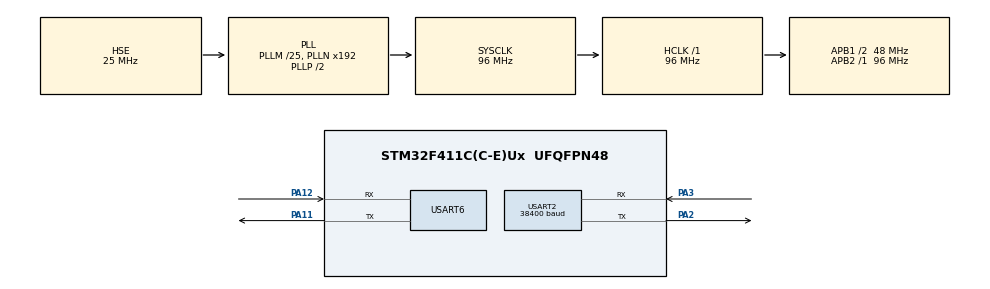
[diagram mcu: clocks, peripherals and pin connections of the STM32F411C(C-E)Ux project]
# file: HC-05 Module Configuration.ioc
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Mcu.Family=STM32F4
Mcu.Name=STM32F411C(C-E)Ux
Mcu.Package=UFQFPN48
NVIC.PriorityGroup=NVIC_PRIORITYGROUP_4
NVIC.USART2_IRQn=true\:0\:0\:false\:false\:true\:true\:true\:true
NVIC.USART6_IRQn=true\:0\:0\:false\:false\:true\:true\:true\:true
PA11.Mode=Asynchronous
PA11.Signal=USART6_TX
PA12.Mode=Asynchronous
PA12.Signal=USART6_RX
PA13.Mode=Trace_Asynchronous_SW
PA13.Signal=SYS_JTMS-SWDIO
PA14.Mode=Trace_Asynchronous_SW
PA14.Signal=SYS_JTCK-SWCLK
PA2.Mode=Asynchronous
PA2.Signal=USART2_TX
PA3.Mode=Asynchronous
PA3.Signal=USART2_RX
PA5.Signal=S_TIM2_CH1_ETR
PB3.Mode=Trace_Asynchronous_SW
PB3.Signal=SYS_JTDO-SWO
PH0\ -\ OSC_IN.Mode=HSE-External-Oscillator
PH0\ -\ OSC_IN.Signal=RCC_OSC_IN
PH1\ -\ OSC_OUT.Mode=HSE-External-Oscillator
PH1\ -\ OSC_OUT.Signal=RCC_OSC_OUT
ProjectManager.HeapSize=0x200
ProjectManager.StackSize=0x400
ProjectManager.TargetToolchain=STM32CubeIDE
RCC.48MHZClocksFreq_Value=48000000
RCC.AHBFreq_Value=96000000
RCC.APB1CLKDivider=RCC_HCLK_DIV2
RCC.APB1Freq_Value=48000000
RCC.APB1TimFreq_Value=96000000
RCC.APB2Freq_Value=96000000
RCC.APB2TimFreq_Value=96000000
RCC.CortexFreq_Value=96000000
RCC.HCLKFreq_Value=96000000
RCC.HSE_VALUE=25000000
RCC.HSI_VALUE=16000000
RCC.LSE_VALUE=32768
RCC.PLLM=25
RCC.PLLSourceVirtual=RCC_PLLSOURCE_HSE
RCC.SYSCLKFreq_VALUE=96000000
RCC.SYSCLKSource=RCC_SYSCLKSOURCE_PLLCLK
RCC.VCOOutputFreq_Value=192000000
SH.S_TIM2_CH1_ETR.0=TIM2_CH1
TIM2.Prescaler=95
USART2.BaudRate=38400
USART2.VirtualMode=VM_ASYNC
USART6.VirtualMode=VM_ASYNC
VP_TIM2_VS_ClockSourceINT.Mode=Internal
board=custom

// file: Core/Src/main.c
/* USER CODE BEGIN Header */
/**
  ******************************************************************************
  * @file           : main.c
  * @brief          : Main program body
  ******************************************************************************
  * @attention
  *
  * Copyright (c) 2025 STMicroelectronics.
  * All rights reserved.
  *
  * This software is licensed under terms that can be found in the LICENSE file
  * in the root directory of this software component.
  * If no LICENSE file comes with this software, it is provided AS-IS.
  *
  ******************************************************************************
  */
/* USER CODE END Header */
#include "main.h"

/* USER CODE BEGIN Includes */
#include <string.h>
/* USER CODE END Includes */

TIM_HandleTypeDef htim2;

UART_HandleTypeDef huart2;
UART_HandleTypeDef huart6;

/* USER CODE BEGIN PV */
#define BUFFER_SIZE 64
uint8_t rx_byte;
uint8_t rx_buffer[BUFFER_SIZE];
uint8_t buffer_index = 0;
volatile uint8_t command_ready = 0;

#define HC05_BUFFER_SIZE 128
volatile uint8_t hc05_rx_byte;
volatile uint8_t hc05_rx_buffer[HC05_BUFFER_SIZE];
volatile uint16_t hc05_rx_index = 0;
volatile uint8_t hc05_line_ready = 0;
volatile uint32_t hc05_last_rx_tick = 0;

/* USER CODE END PV */

void SystemClock_Config(void);
static void MX_GPIO_Init(void);
static void MX_USART2_UART_Init(void);
static void MX_TIM2_Init(void);
static void MX_USART6_UART_Init(void);

/* USER CODE BEGIN 0 */

//// Helper function to send AT command
//void sendATCommand(const char* cmd) {
//    HAL_UART_Transmit(&huart2, (uint8_t*)cmd, strlen(cmd), HAL_MAX_DELAY);
//    HAL_Delay(500);  // Small delay to give HC-05 time to process
//}
//
//void configure_HC05() {
//    // Optional: Reset to defaults
//    // sendATCommand("AT+ORGL\r\n");
//
//    sendATCommand("AT+NAME=MECHA15 ROBOT BT\r\n");
//    //sendATCommand("AT+PSWD=0614\r\n");
//    sendATCommand("AT+UART=115200,0,0\r\n");
//    sendATCommand("AT+RESET\r\n");
//}
/* USER CODE END 0 */

int main(void)
{

  /* MCU Configuration--------------------------------------------------------*/

  /* Reset of all peripherals, Initializes the Flash interface and the Systick. */
  HAL_Init();

  /* Configure the system clock */
  SystemClock_Config();

  /* Initialize all configured peripherals */
  MX_GPIO_Init();
  MX_USART2_UART_Init();
  MX_TIM2_Init();
  MX_USART6_UART_Init();
  /* USER CODE BEGIN 2 */
  HAL_UART_Receive_IT(&huart6, (uint8_t *)&rx_byte, 1);  // Trigger the first receive
  HAL_UART_Receive_IT(&huart2, (uint8_t*)&hc05_rx_byte, 1);
  HAL_UART_Transmit(&huart6, (uint8_t*)"\r\n> ", 4, HAL_MAX_DELAY);

  // To set up the HC-05 the way I had it for basic laptop connection, use the following commands:

  //  sendATCommand("AT+NAME=MECHA15 ROBOT BT\r\n"); // Module Name
  //  sendATCommand("AT+UART=115200,0,0\r\n"); // Set Data Mode Baud Rate
  //  sendATCommand("AT+RESET\r\n"); // Apply Changes

  /* USER CODE END 2 */

  /* Infinite loop */
  /* USER CODE BEGIN WHILE */
  while (1)
  {
      // Handle user command entry from PuTTY
	  if (command_ready)
	  {
	      command_ready = 0;

	      strcat((char*)rx_buffer, "\r\n");  // Append CRLF
	      HAL_UART_Transmit(&huart2, rx_buffer, strlen((char*)rx_buffer), HAL_MAX_DELAY);

	      // Reset user input buffer
	      memset(rx_buffer, 0, BUFFER_SIZE);
	      buffer_index = 0;
	  }

	  // Check if HC-05 has been idle long enough to assume response is complete
	  if (hc05_rx_index > 0 && (HAL_GetTick() - hc05_last_rx_tick > 150))
	  {
	      hc05_rx_buffer[hc05_rx_index] = '\0';
	      hc05_rx_index = 0;
	      hc05_line_ready = 1;
	  }

	  // If a complete HC-05 response is ready, print it to PuTTY
	  if (hc05_line_ready)
	  {
	      hc05_line_ready = 0;
	      HAL_UART_Transmit(&huart6, (uint8_t*)hc05_rx_buffer, strlen((char*)hc05_rx_buffer), HAL_MAX_DELAY);

	      const char prompt[] = "\r\n> ";
	      HAL_UART_Transmit(&huart6, (uint8_t*)prompt, strlen(prompt), HAL_MAX_DELAY);
	  }

    /* USER CODE END WHILE */

  }
}

void SystemClock_Config(void)
{
  RCC_OscInitTypeDef RCC_OscInitStruct = {0};
  RCC_ClkInitTypeDef RCC_ClkInitStruct = {0};

  /** Configure the main internal regulator output voltage
  */
  __HAL_RCC_PWR_CLK_ENABLE();
  __HAL_PWR_VOLTAGESCALING_CONFIG(PWR_REGULATOR_VOLTAGE_SCALE1);

  /** Initializes the RCC Oscillators according to the specified parameters
  * in the RCC_OscInitTypeDef structure.
  */
  RCC_OscInitStruct.OscillatorType = RCC_OSCILLATORTYPE_HSE;
  RCC_OscInitStruct.HSEState = RCC_HSE_ON;
  RCC_OscInitStruct.PLL.PLLState = RCC_PLL_ON;
  RCC_OscInitStruct.PLL.PLLSource = RCC_PLLSOURCE_HSE;
  RCC_OscInitStruct.PLL.PLLM = 25;
  RCC_OscInitStruct.PLL.PLLN = 192;
  RCC_OscInitStruct.PLL.PLLP = RCC_PLLP_DIV2;
  RCC_OscInitStruct.PLL.PLLQ = 4;
  if (HAL_RCC_OscConfig(&RCC_OscInitStruct) != HAL_OK)
  {
    Error_Handler();
  }

  /** Initializes the CPU, AHB and APB buses clocks
  */
  RCC_ClkInitStruct.ClockType = RCC_CLOCKTYPE_HCLK|RCC_CLOCKTYPE_SYSCLK
                              |RCC_CLOCKTYPE_PCLK1|RCC_CLOCKTYPE_PCLK2;
  RCC_ClkInitStruct.SYSCLKSource = RCC_SYSCLKSOURCE_PLLCLK;
  RCC_ClkInitStruct.AHBCLKDivider = RCC_SYSCLK_DIV1;
  RCC_ClkInitStruct.APB1CLKDivider = RCC_HCLK_DIV2;
  RCC_ClkInitStruct.APB2CLKDivider = RCC_HCLK_DIV1;

  if (HAL_RCC_ClockConfig(&RCC_ClkInitStruct, FLASH_LATENCY_3) != HAL_OK)
  {
    Error_Handler();
  }
}

static void MX_TIM2_Init(void)
{

  TIM_ClockConfigTypeDef sClockSourceConfig = {0};
  TIM_MasterConfigTypeDef sMasterConfig = {0};

  htim2.Instance = TIM2;
  htim2.Init.Prescaler = 95;
  htim2.Init.CounterMode = TIM_COUNTERMODE_UP;
  htim2.Init.Period = 4294967295;
  htim2.Init.ClockDivision = TIM_CLOCKDIVISION_DIV1;
  htim2.Init.AutoReloadPreload = TIM_AUTORELOAD_PRELOAD_DISABLE;
  if (HAL_TIM_Base_Init(&htim2) != HAL_OK)
  {
    Error_Handler();
  }
  sClockSourceConfig.ClockSource = TIM_CLOCKSOURCE_INTERNAL;
  if (HAL_TIM_ConfigClockSource(&htim2, &sClockSourceConfig) != HAL_OK)
  {
    Error_Handler();
  }
  sMasterConfig.MasterOutputTrigger = TIM_TRGO_RESET;
  sMasterConfig.MasterSlaveMode = TIM_MASTERSLAVEMODE_DISABLE;
  if (HAL_TIMEx_MasterConfigSynchronization(&htim2, &sMasterConfig) != HAL_OK)
  {
    Error_Handler();
  }

}

static void MX_USART2_UART_Init(void)
{

  huart2.Instance = USART2;
  huart2.Init.BaudRate = 38400;
  huart2.Init.WordLength = UART_WORDLENGTH_8B;
  huart2.Init.StopBits = UART_STOPBITS_1;
  huart2.Init.Parity = UART_PARITY_NONE;
  huart2.Init.Mode = UART_MODE_TX_RX;
  huart2.Init.HwFlowCtl = UART_HWCONTROL_NONE;
  huart2.Init.OverSampling = UART_OVERSAMPLING_16;
  if (HAL_UART_Init(&huart2) != HAL_OK)
  {
    Error_Handler();
  }

}

static void MX_USART6_UART_Init(void)
{

  huart6.Instance = USART6;
  huart6.Init.BaudRate = 115200;
  huart6.Init.WordLength = UART_WORDLENGTH_8B;
  huart6.Init.StopBits = UART_STOPBITS_1;
  huart6.Init.Parity = UART_PARITY_NONE;
  huart6.Init.Mode = UART_MODE_TX_RX;
  huart6.Init.HwFlowCtl = UART_HWCONTROL_NONE;
  huart6.Init.OverSampling = UART_OVERSAMPLING_16;
  if (HAL_UART_Init(&huart6) != HAL_OK)
  {
    Error_Handler();
  }

}

static void MX_GPIO_Init(void)
{

  /* GPIO Ports Clock Enable */
  __HAL_RCC_GPIOH_CLK_ENABLE();
  __HAL_RCC_GPIOA_CLK_ENABLE();
  __HAL_RCC_GPIOB_CLK_ENABLE();

}

/* USER CODE BEGIN 4 */

// Interrupt callback for entering commands into a serial terminal
void HAL_UART_RxCpltCallback(UART_HandleTypeDef *huart)
{
    if (huart->Instance == USART6)
    {
        if (rx_byte == '\r')  // Enter key
        {

        	rx_buffer[buffer_index] = '\0';  // Null-terminate
        	// Set command ready flag (to be handled in main loop)
            command_ready = 1;

            // Echo newline to PuTTY
            uint8_t newline[3] = "\r\n";
            HAL_UART_Transmit(&huart6, newline, 2, HAL_MAX_DELAY);

        }
        else if (rx_byte == 0x08 || rx_byte == 127)  // Handle backspace or DEL
        {
            if (buffer_index > 0)
            {
                buffer_index--;  // Remove last character from buffer

                // Move back, write space, move back again to backspace both visually and in the character buffer
                HAL_UART_Transmit(&huart6, (uint8_t*)"\b \b", 3, HAL_MAX_DELAY);
            }
        }
        else
        {
            // Store input character in buffer if not backspace
            if (buffer_index < BUFFER_SIZE - 1)
            {
                rx_buffer[buffer_index++] = rx_byte;
            }

            // Echo input back
            HAL_UART_Transmit(&huart6, &rx_byte, 1, HAL_MAX_DELAY);
        }

        // Re-enable UART receive interrupt
        HAL_UART_Receive_IT(&huart6, &rx_byte, 1);
    }

    else if (huart->Instance == USART2)
    {
        if (hc05_rx_index < HC05_BUFFER_SIZE - 1)
        {
            hc05_rx_buffer[hc05_rx_index++] = hc05_rx_byte;
            hc05_last_rx_tick = HAL_GetTick();  // Reset silence timer
        }
        else
        {
            // Prevent overflow
            hc05_rx_index = 0;
        }

        HAL_UART_Receive_IT(&huart2, (uint8_t*)&hc05_rx_byte, 1);
    }
}

/* USER CODE END 4 */

void Error_Handler(void)
{
  __disable_irq();
  while (1)
  {
  }
}
